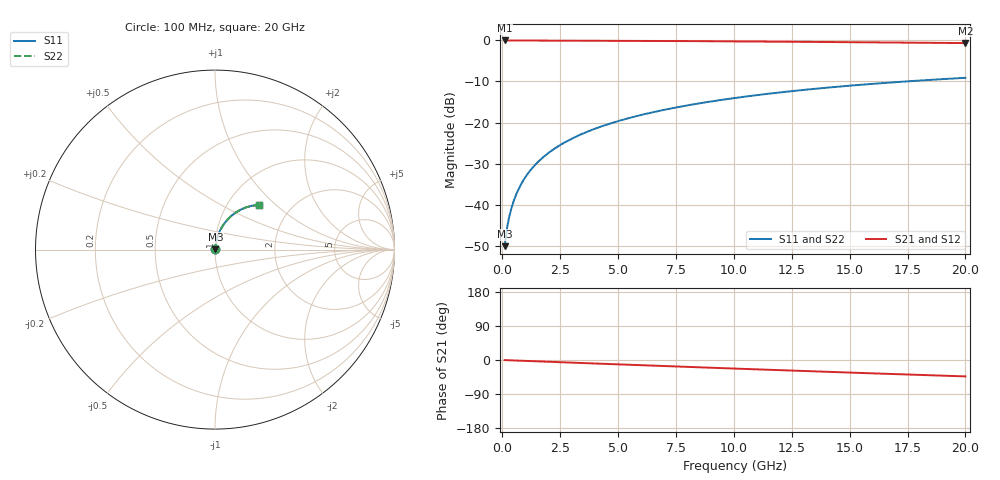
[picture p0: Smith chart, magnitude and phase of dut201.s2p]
! Touchstone file exported from HFSS 2026.1.0
!  File:  C:/ffzhzh/LocalFiles/Ansys_Project_Files/temp_train_BSMRDL_201_1782987711_40604.aedt
!  Generated:  06:23:08 PM Jul  2, 2026
!  Design:  BSMRDL
!  Project:  temp_train_BSMRDL_201_1782987711_40604
! Variables:
!  h_bsmrdl = 4.35um
!  h_ox = 20um
!  h_rdl = 5um
!  h_sub = 80um
!  h_tmrdl = 5um
!  h_tsv = 80um
!  h_via = 3um
!  l_bsmrdl = 652.1um
!  l_sub = 1052.1um
!  l_tmrdl = 200um
!  m_sub = 200um
!  pitch = 56.83um
!  r_tsv = 6um
!  s_tmrdl = 10um
!  w_bsmrdl = 29.74um
!  w_sub = 500um
!  w_tmrdl = 12um
!  x_tsv_center1 = 206um
!  x_tsv_center2 = 887.84um
!  x_tsv_center3 = 1099.84um
!  x_tsv_center4 = 1781.68um
!  x_tsv_center5 = 1993.68um
!  x_tsv_center6 = 2675.52um
# GHz S MA R 50.000000
! Terminal data exported
! Port[1] = BSM_RDL1_1_T1
! Port[2] = BSM_RDL1_1_T2
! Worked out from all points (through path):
!   200 points, 100 MHz to 20 GHz, reference 50 ohm
!   highest |S21| = -0.02 dB at 100 MHz (marker M1); lowest = -0.7 dB at 20 GHz (marker M2)
!   group delay of S21, straight-line fit = 6.01 ps
!   lowest |S11| = -50.1 dB at 100 MHz (marker M3), VSWR 1.01, Z = 50.2 + j0.239 ohm
!   |S11| at or under -10 dB: start of sweep to 17.41 GHz
!   |S22| runs from -50.1 to -9.1 dB; largest |S21 - S12| = 2.7e-15
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0.1  0.003133 49.4  0.998 -0.2  0.998 -0.2  0.003133 49.4
! Gamma 0 0 0 0
! Port Impedance 50 0 50 0
0.2  0.005118 63.9  0.9978 -0.5  0.9978 -0.5  0.005119 63.9
0.3  0.007149 70.1  0.9976 -0.7  0.9976 -0.7  0.007149 70.1
0.4  0.009192 73.7  0.9975 -1.0  0.9975 -1.0  0.009192 73.7
0.5  0.01125 76.0  0.9974 -1.2  0.9974 -1.2  0.01125 76.0
0.7  0.01542 78.7  0.9973 -1.6  0.9973 -1.6  0.01542 78.7
0.8  0.01752 79.5  0.9972 -1.9  0.9972 -1.9  0.01752 79.5
1  0.02173 80.5  0.9971 -2.3  0.9971 -2.3  0.02173 80.5
1.2  0.02596 81.0  0.9969 -2.8  0.9969 -2.8  0.02596 81.0
1.4  0.03018 81.3  0.9967 -3.3  0.9967 -3.3  0.03018 81.3
1.7  0.03651 81.3  0.9963 -4.0  0.9963 -4.0  0.03651 81.3
2  0.04282 81.1  0.9959 -4.7  0.9959 -4.7  0.04282 81.1
2.7  0.05743 80.2  0.9948 -6.3  0.9948 -6.3  0.05743 80.2
3.5  0.07391 78.7  0.9932 -8.1  0.9932 -8.1  0.07391 78.7
4.2  0.08812 77.3  0.9916 -9.7  0.9916 -9.7  0.08812 77.3
5  0.1041 75.7  0.9895 -11.5  0.9895 -11.5  0.1041 75.7
6.8  0.1392 72.0  0.9842 -15.5  0.9842 -15.5  0.1392 72.0
8.3  0.1674 68.8  0.9791 -18.9  0.9791 -18.9  0.1674 68.8
10.1  0.2001 65.1  0.9723 -22.8  0.9723 -22.8  0.2001 65.1
13.4  0.2559 58.3  0.9583 -29.8  0.9583 -29.8  0.2559 58.3
16.7  0.3062 51.7  0.943 -36.7  0.943 -36.7  0.3062 51.7
20  0.3505 45.2  0.9271 -43.3  0.9271 -43.3  0.3505 45.2
